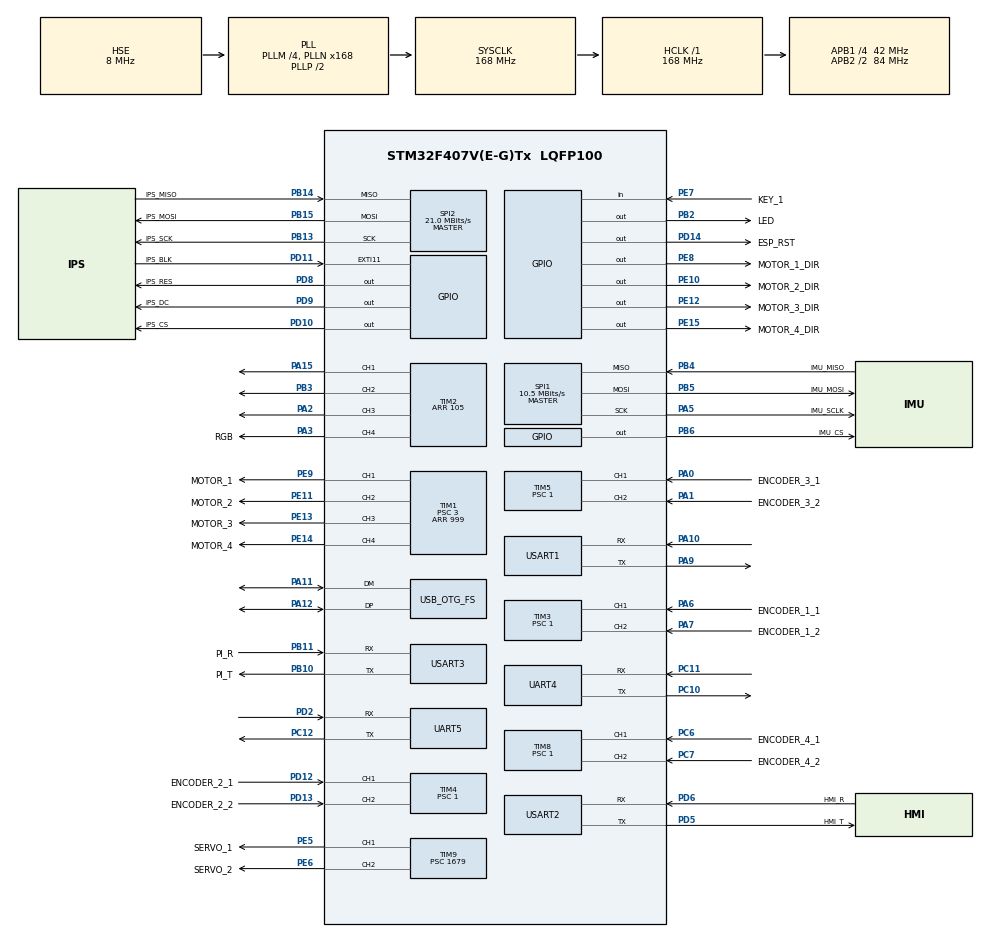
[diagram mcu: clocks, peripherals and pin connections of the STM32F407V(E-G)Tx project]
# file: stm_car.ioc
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Dma.Request0=TIM2_CH2/CH4
Dma.TIM2_CH2/CH4.0.Direction=DMA_MEMORY_TO_PERIPH
Dma.TIM2_CH2/CH4.0.FIFOMode=DMA_FIFOMODE_DISABLE
Dma.TIM2_CH2/CH4.0.Instance=DMA1_Stream6
Dma.TIM2_CH2/CH4.0.MemDataAlignment=DMA_MDATAALIGN_WORD
Dma.TIM2_CH2/CH4.0.MemInc=DMA_MINC_ENABLE
Dma.TIM2_CH2/CH4.0.Mode=DMA_CIRCULAR
Dma.TIM2_CH2/CH4.0.PeriphDataAlignment=DMA_PDATAALIGN_WORD
Dma.TIM2_CH2/CH4.0.PeriphInc=DMA_PINC_DISABLE
Dma.TIM2_CH2/CH4.0.Priority=DMA_PRIORITY_LOW
FREERTOS.Tasks01=defaultTask,0,128,StartDefaultTask,Default,NULL,Dynamic,NULL,NULL;Task_Motor,-3,128,Motor_Entry,Default,NULL,Dynamic,NULL,NULL;Task_check,-3,128,Check_Entry,Default,NULL,Dynamic,NULL,NULL;Task_InertialNa,-3,128,InertialNavigation_Entry,Default,NULL,Dynamic,NULL,NULL
FREERTOS.Timers01=myTimer01,Callback01,osTimerPeriodic,Default,NULL,Dynamic,NULL
FREERTOS.configUSE_TIMERS=1
Mcu.Family=STM32F4
Mcu.Name=STM32F407V(E-G)Tx
Mcu.Package=LQFP100
NVIC.DMA1_Stream6_IRQn=true\:5\:0\:false\:false\:true\:true\:false\:true\:true
NVIC.OTG_FS_IRQn=true\:5\:0\:false\:false\:true\:true\:false\:true\:true
NVIC.PriorityGroup=NVIC_PRIORITYGROUP_4
NVIC.TIM7_IRQn=true\:15\:0\:false\:false\:true\:false\:false\:true\:true
NVIC.TimeBase=TIM7_IRQn
NVIC.TimeBaseIP=TIM7
NVIC.UART4_IRQn=true\:5\:0\:false\:false\:true\:true\:true\:true\:true
NVIC.USART1_IRQn=true\:5\:0\:false\:false\:true\:true\:true\:true\:true
NVIC.USART2_IRQn=true\:5\:0\:false\:false\:true\:true\:true\:true\:true
NVIC.USART3_IRQn=true\:5\:0\:false\:false\:true\:true\:true\:true\:true
PA0-WKUP.GPIO_Label=ENCODER_3_1
PA0-WKUP.Signal=S_TIM5_CH1
PA1.GPIO_Label=ENCODER_3_2
PA1.Signal=S_TIM5_CH2
PA10.Mode=Asynchronous
PA10.Signal=USART1_RX
PA11.Mode=Device_Only
PA11.Signal=USB_OTG_FS_DM
PA12.Mode=Device_Only
PA12.Signal=USB_OTG_FS_DP
PA13.Mode=Serial_Wire
PA13.Signal=SYS_JTMS-SWDIO
PA14.Mode=Serial_Wire
PA14.Signal=SYS_JTCK-SWCLK
PA15.Signal=S_TIM2_CH1_ETR
PA2.Signal=S_TIM2_CH3
PA3.GPIO_Label=RGB
PA3.Signal=S_TIM2_CH4
PA5.GPIO_Label=IMU_SCLK
PA5.Mode=Full_Duplex_Master
PA5.Signal=SPI1_SCK
PA6.GPIO_Label=ENCODER_1_1
PA6.Signal=S_TIM3_CH1
PA7.GPIO_Label=ENCODER_1_2
PA7.Signal=S_TIM3_CH2
PA9.Mode=Asynchronous
PA9.Signal=USART1_TX
PB10.GPIO_Label=PI_T
PB10.Mode=Asynchronous
PB10.Signal=USART3_TX
PB11.GPIO_Label=PI_R
PB11.Mode=Asynchronous
PB11.Signal=USART3_RX
PB13.GPIO_Label=IPS_SCK
PB13.Mode=Full_Duplex_Master
PB13.Signal=SPI2_SCK
PB14.GPIO_Label=IPS_MISO
PB14.Mode=Full_Duplex_Master
PB14.Signal=SPI2_MISO
PB15.GPIO_Label=IPS_MOSI
PB15.Mode=Full_Duplex_Master
PB15.Signal=SPI2_MOSI
PB2.GPIO_Label=LED
PB2.Signal=GPIO_Output
PB3.Signal=S_TIM2_CH2
PB4.GPIO_Label=IMU_MISO
PB4.Mode=Full_Duplex_Master
PB4.Signal=SPI1_MISO
PB5.GPIO_Label=IMU_MOSI
PB5.Mode=Full_Duplex_Master
PB5.Signal=SPI1_MOSI
PB6.GPIO_Label=IMU_CS
PB6.Signal=GPIO_Output
PC10.Mode=Asynchronous
PC10.Signal=UART4_TX
PC11.Mode=Asynchronous
PC11.Signal=UART4_RX
PC12.Mode=Asynchronous
PC12.Signal=UART5_TX
PC14-OSC32_IN.Mode=LSE-External-Oscillator
PC14-OSC32_IN.Signal=RCC_OSC32_IN
PC15-OSC32_OUT.Mode=LSE-External-Oscillator
PC15-OSC32_OUT.Signal=RCC_OSC32_OUT
PC6.GPIO_Label=ENCODER_4_1
PC6.Signal=S_TIM8_CH1
PC7.GPIO_Label=ENCODER_4_2
PC7.Signal=S_TIM8_CH2
PD10.GPIO_Label=IPS_CS
PD10.Signal=GPIO_Output
PD11.GPIO_Label=IPS_BLK
PD11.Signal=GPXTI11
PD12.GPIO_Label=ENCODER_2_1
PD12.Signal=S_TIM4_CH1
PD13.GPIO_Label=ENCODER_2_2
PD13.Signal=S_TIM4_CH2
PD14.GPIO_Label=ESP_RST
PD14.Signal=GPIO_Output
PD2.Mode=Asynchronous
PD2.Signal=UART5_RX
PD5.GPIO_Label=HMI_T
PD5.Mode=Asynchronous
PD5.Signal=USART2_TX
PD6.GPIO_Label=HMI_R
PD6.Mode=Asynchronous
PD6.Signal=USART2_RX
PD8.GPIO_Label=IPS_RES
PD8.Signal=GPIO_Output
PD9.GPIO_Label=IPS_DC
PD9.Signal=GPIO_Output
PE10.GPIO_Label=MOTOR_2_DIR
PE10.Signal=GPIO_Output
PE11.GPIO_Label=MOTOR_2
PE11.Signal=S_TIM1_CH2
PE12.GPIO_Label=MOTOR_3_DIR
PE12.Signal=GPIO_Output
PE13.GPIO_Label=MOTOR_3
PE13.Signal=S_TIM1_CH3
PE14.GPIO_Label=MOTOR_4
PE14.Signal=S_TIM1_CH4
PE15.GPIO_Label=MOTOR_4_DIR
PE15.Signal=GPIO_Output
PE5.GPIO_Label=SERVO_1
PE5.Signal=S_TIM9_CH1
PE6.GPIO_Label=SERVO_2
PE6.Signal=S_TIM9_CH2
PE7.GPIO_Label=KEY_1
PE7.Signal=GPIO_Input
PE8.GPIO_Label=MOTOR_1_DIR
PE8.Signal=GPIO_Output
PE9.GPIO_Label=MOTOR_1
PE9.Signal=S_TIM1_CH1
PH0-OSC_IN.Mode=HSE-External-Oscillator
PH0-OSC_IN.Signal=RCC_OSC_IN
PH1-OSC_OUT.Mode=HSE-External-Oscillator
PH1-OSC_OUT.Signal=RCC_OSC_OUT
ProjectManager.HeapSize=0x200
ProjectManager.StackSize=0x400
ProjectManager.TargetToolchain=MDK-ARM V5.32
RCC.48MHZClocksFreq_Value=48000000
RCC.AHBFreq_Value=168000000
RCC.APB1CLKDivider=RCC_HCLK_DIV4
RCC.APB1Freq_Value=42000000
RCC.APB1TimFreq_Value=84000000
RCC.APB2CLKDivider=RCC_HCLK_DIV2
RCC.APB2Freq_Value=84000000
RCC.APB2TimFreq_Value=168000000
RCC.CortexFreq_Value=168000000
RCC.HCLKFreq_Value=168000000
RCC.HSE_VALUE=8000000
RCC.HSI_VALUE=16000000
RCC.PLLM=4
RCC.PLLN=168
RCC.PLLQ=7
RCC.SYSCLKFreq_VALUE=168000000
RCC.SYSCLKSource=RCC_SYSCLKSOURCE_PLLCLK
RCC.VCOOutputFreq_Value=336000000
SH.S_TIM1_CH1.0=TIM1_CH1,PWM Generation1 CH1
SH.S_TIM1_CH2.0=TIM1_CH2,PWM Generation2 CH2
SH.S_TIM1_CH3.0=TIM1_CH3,PWM Generation3 CH3
SH.S_TIM1_CH4.0=TIM1_CH4,PWM Generation4 CH4
SH.S_TIM2_CH1_ETR.0=TIM2_CH1,PWM Generation1 CH1
SH.S_TIM2_CH2.0=TIM2_CH2,PWM Generation2 CH2
SH.S_TIM2_CH3.0=TIM2_CH3,PWM Generation3 CH3
SH.S_TIM2_CH4.0=TIM2_CH4,PWM Generation4 CH4
SH.S_TIM3_CH1.0=TIM3_CH1,Encoder_Interface
SH.S_TIM3_CH2.0=TIM3_CH2,Encoder_Interface
SH.S_TIM4_CH1.0=TIM4_CH1,Encoder_Interface
SH.S_TIM4_CH2.0=TIM4_CH2,Encoder_Interface
SH.S_TIM5_CH1.0=TIM5_CH1,Encoder_Interface
SH.S_TIM5_CH2.0=TIM5_CH2,Encoder_Interface
SH.S_TIM8_CH1.0=TIM8_CH1,Encoder_Interface
SH.S_TIM8_CH2.0=TIM8_CH2,Encoder_Interface
SH.S_TIM9_CH1.0=TIM9_CH1,PWM Generation1 CH1
SH.S_TIM9_CH2.0=TIM9_CH2,PWM Generation2 CH2
SPI1.BaudRatePrescaler=SPI_BAUDRATEPRESCALER_8
SPI1.CLKPolarity=SPI_POLARITY_LOW
SPI1.CalculateBaudRate=10.5 MBits/s
SPI1.Direction=SPI_DIRECTION_2LINES
SPI1.Mode=SPI_MODE_MASTER
SPI1.VirtualType=VM_MASTER
SPI2.BaudRatePrescaler=SPI_BAUDRATEPRESCALER_2
SPI2.CLKPhase=SPI_PHASE_1EDGE
SPI2.CLKPolarity=SPI_POLARITY_LOW
SPI2.CalculateBaudRate=21.0 MBits/s
SPI2.Direction=SPI_DIRECTION_2LINES
SPI2.Mode=SPI_MODE_MASTER
SPI2.VirtualType=VM_MASTER
TIM1.Channel-PWM\ Generation1\ CH1=TIM_CHANNEL_1
TIM1.Channel-PWM\ Generation2\ CH2=TIM_CHANNEL_2
TIM1.Channel-PWM\ Generation3\ CH3=TIM_CHANNEL_3
TIM1.Channel-PWM\ Generation4\ CH4=TIM_CHANNEL_4
TIM1.Period=999
TIM1.Prescaler=3
TIM2.Channel-PWM\ Generation1\ CH1=TIM_CHANNEL_1
TIM2.Channel-PWM\ Generation2\ CH2=TIM_CHANNEL_2
TIM2.Channel-PWM\ Generation3\ CH3=TIM_CHANNEL_3
TIM2.Channel-PWM\ Generation4\ CH4=TIM_CHANNEL_4
TIM2.Period=105
TIM3.Prescaler=1
TIM4.Prescaler=1
TIM5.Period=65535
TIM5.Prescaler=1
TIM8.Prescaler=1
TIM9.Channel-PWM\ Generation1\ CH1=TIM_CHANNEL_1
TIM9.Channel-PWM\ Generation2\ CH2=TIM_CHANNEL_2
TIM9.Period=999
TIM9.Prescaler=1679
UART4.VirtualMode=Asynchronous
UART5.VirtualMode=Asynchronous
USART1.VirtualMode=VM_ASYNC
USART2.VirtualMode=VM_ASYNC
USART3.VirtualMode=VM_ASYNC
USB_DEVICE.CLASS_NAME_FS=CDC
USB_DEVICE.VirtualMode-CDC_FS=Cdc
USB_DEVICE.VirtualModeFS=Cdc_FS
USB_OTG_FS.VirtualMode=Device_Only
VP_FREERTOS_VS_CMSIS_V1.Mode=CMSIS_V1
VP_SYS_VS_tim7.Mode=TIM7
VP_TIM1_VS_ClockSourceINT.Mode=Internal
VP_TIM2_VS_ClockSourceINT.Mode=Internal
VP_TIM9_VS_ClockSourceINT.Mode=Internal
VP_USB_DEVICE_VS_USB_DEVICE_CDC_FS.Mode=CDC_FS
board=custom

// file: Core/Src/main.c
/* USER CODE BEGIN Header */
/**
  ******************************************************************************
  * @file           : main.c
  * @brief          : Main program body
  ******************************************************************************
  * @attention
  *
  * Copyright (c) 2024 STMicroelectronics.
  * All rights reserved.
  *
  * This software is licensed under terms that can be found in the LICENSE file
  * in the root directory of this software component.
  * If no LICENSE file comes with this software, it is provided AS-IS.
  *
  ******************************************************************************
  */
/* USER CODE END Header */
#include "main.h"
#include "cmsis_os.h"
#include "dma.h"
#include "spi.h"
#include "tim.h"
#include "usart.h"
#include "usb_device.h"
#include "gpio.h"

void SystemClock_Config(void);
void MX_FREERTOS_Init(void);

/* USER CODE BEGIN 0 */
uint8_t imu660ra_self_check(void);

/* USER CODE END 0 */

int main(void)
{

  /* MCU Configuration--------------------------------------------------------*/

  /* Reset of all peripherals, Initializes the Flash interface and the Systick. */
  HAL_Init();

  /* Configure the system clock */
  SystemClock_Config();

  /* Initialize all configured peripherals */
  MX_GPIO_Init();
  MX_DMA_Init();
  MX_TIM1_Init();
  MX_TIM3_Init();
  MX_TIM4_Init();
  MX_TIM5_Init();
  MX_USART1_UART_Init();
  MX_TIM8_Init();
  MX_SPI1_Init();
  MX_SPI2_Init();
  MX_TIM2_Init();
  MX_TIM9_Init();
  MX_UART4_Init();
  MX_UART5_Init();
  MX_USART2_UART_Init();
  MX_USART3_UART_Init();
  /* USER CODE BEGIN 2 */
	printf("run");

//	HAL_TIM_Encoder_Start(&htim5,TIM_CHANNEL_1);
//	HAL_TIM_Encoder_Start(&htim5,TIM_CHANNEL_2);

//	HAL_TIM_Encoder_Start(&htim8,TIM_CHANNEL_1);
//	HAL_TIM_Encoder_Start(&htim8,TIM_CHANNEL_2);

  /* USER CODE END 2 */

  /* Call init function for freertos objects (in freertos.c) */
  MX_FREERTOS_Init();

  /* Start scheduler */
  osKernelStart();

  /* We should never get here as control is now taken by the scheduler */
  /* Infinite loop */
  while (1)
  {

  }
}

void SystemClock_Config(void)
{
  RCC_OscInitTypeDef RCC_OscInitStruct = {0};
  RCC_ClkInitTypeDef RCC_ClkInitStruct = {0};

  /** Configure the main internal regulator output voltage
  */
  __HAL_RCC_PWR_CLK_ENABLE();
  __HAL_PWR_VOLTAGESCALING_CONFIG(PWR_REGULATOR_VOLTAGE_SCALE1);

  /** Initializes the RCC Oscillators according to the specified parameters
  * in the RCC_OscInitTypeDef structure.
  */
  RCC_OscInitStruct.OscillatorType = RCC_OSCILLATORTYPE_HSE;
  RCC_OscInitStruct.HSEState = RCC_HSE_ON;
  RCC_OscInitStruct.PLL.PLLState = RCC_PLL_ON;
  RCC_OscInitStruct.PLL.PLLSource = RCC_PLLSOURCE_HSE;
  RCC_OscInitStruct.PLL.PLLM = 4;
  RCC_OscInitStruct.PLL.PLLN = 168;
  RCC_OscInitStruct.PLL.PLLP = RCC_PLLP_DIV2;
  RCC_OscInitStruct.PLL.PLLQ = 7;
  if (HAL_RCC_OscConfig(&RCC_OscInitStruct) != HAL_OK)
  {
    Error_Handler();
  }

  /** Initializes the CPU, AHB and APB buses clocks
  */
  RCC_ClkInitStruct.ClockType = RCC_CLOCKTYPE_HCLK|RCC_CLOCKTYPE_SYSCLK
                              |RCC_CLOCKTYPE_PCLK1|RCC_CLOCKTYPE_PCLK2;
  RCC_ClkInitStruct.SYSCLKSource = RCC_SYSCLKSOURCE_PLLCLK;
  RCC_ClkInitStruct.AHBCLKDivider = RCC_SYSCLK_DIV1;
  RCC_ClkInitStruct.APB1CLKDivider = RCC_HCLK_DIV4;
  RCC_ClkInitStruct.APB2CLKDivider = RCC_HCLK_DIV2;

  if (HAL_RCC_ClockConfig(&RCC_ClkInitStruct, FLASH_LATENCY_5) != HAL_OK)
  {
    Error_Handler();
  }
}

/* USER CODE BEGIN 4 */
void HAL_UART_RxCpltCallback(UART_HandleTypeDef *huart)
{
  if (huart->Instance == hmi.USART_BASE)
  {
		hmi.hmi_data_analysis(&hmi, &hmi.res);

//		HAL_UART_Transmit(&huart1, (uint8_t *)&hmi.res, 1, 0xffff);			//放在这里会拖到串口读取

		HAL_UART_Receive_IT(hmi.huart, &hmi.res, 1);
  }

	if (huart->Instance == XBOX.USART_BASE)
  {
		XBOX.XBOX_data_analysis(&XBOX, &XBOX.res);

//		HAL_UART_Transmit(&huart1, (uint8_t *)&XBOX.res, 1, 0xffff);			//放在这里会拖到串口读取

		HAL_UART_Receive_IT(XBOX.huart, &XBOX.res, 1);
  }

}
/* USER CODE END 4 */

void HAL_TIM_PeriodElapsedCallback(TIM_HandleTypeDef *htim)
{
  if (htim->Instance == TIM7) {
    HAL_IncTick();
  }
}

void Error_Handler(void)
{
  __disable_irq();
  while (1)
  {
  }
}

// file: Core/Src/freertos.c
/* USER CODE BEGIN Header */
/**
  ******************************************************************************
  * File Name          : freertos.c
  * Description        : Code for freertos applications
  ******************************************************************************
  * @attention
  *
  * Copyright (c) 2024 STMicroelectronics.
  * All rights reserved.
  *
  * This software is licensed under terms that can be found in the LICENSE file
  * in the root directory of this software component.
  * If no LICENSE file comes with this software, it is provided AS-IS.
  *
  ******************************************************************************
  */
/* USER CODE END Header */

#include "FreeRTOS.h"
#include "task.h"
#include "main.h"
#include "cmsis_os.h"

/* USER CODE BEGIN Includes */
#include "USB_CDC.h"
#include "math.h"
/* USER CODE END Includes */

/* USER CODE BEGIN Variables */

EventGroupHandle_t myEventGroupHandle_check;//事件组句柄

/* USER CODE END Variables */
osThreadId defaultTaskHandle;
osThreadId Task_MotorHandle;
osThreadId Task_checkHandle;
osThreadId Task_InertialNaHandle;
osTimerId myTimer01Handle;

void StartDefaultTask(void const * argument);
void Motor_Entry(void const * argument);
void Check_Entry(void const * argument);
void InertialNavigation_Entry(void const * argument);
void Callback01(void const * argument);

extern void MX_USB_DEVICE_Init(void);
void MX_FREERTOS_Init(void); /* (MISRA C 2004 rule 8.1) */

/* GetIdleTaskMemory prototype (linked to static allocation support) */
void vApplicationGetIdleTaskMemory( StaticTask_t **ppxIdleTaskTCBBuffer, StackType_t **ppxIdleTaskStackBuffer, uint32_t *pulIdleTaskStackSize );

/* GetTimerTaskMemory prototype (linked to static allocation support) */
void vApplicationGetTimerTaskMemory( StaticTask_t **ppxTimerTaskTCBBuffer, StackType_t **ppxTimerTaskStackBuffer, uint32_t *pulTimerTaskStackSize );

/* USER CODE BEGIN GET_IDLE_TASK_MEMORY */
static StaticTask_t xIdleTaskTCBBuffer;
static StackType_t xIdleStack[configMINIMAL_STACK_SIZE];

void vApplicationGetIdleTaskMemory( StaticTask_t **ppxIdleTaskTCBBuffer, StackType_t **ppxIdleTaskStackBuffer, uint32_t *pulIdleTaskStackSize )
{
  *ppxIdleTaskTCBBuffer = &xIdleTaskTCBBuffer;
  *ppxIdleTaskStackBuffer = &xIdleStack[0];
  *pulIdleTaskStackSize = configMINIMAL_STACK_SIZE;
  /* place for user code */
}
/* USER CODE END GET_IDLE_TASK_MEMORY */

/* USER CODE BEGIN GET_TIMER_TASK_MEMORY */
static StaticTask_t xTimerTaskTCBBuffer;
static StackType_t xTimerStack[configTIMER_TASK_STACK_DEPTH];

void vApplicationGetTimerTaskMemory( StaticTask_t **ppxTimerTaskTCBBuffer, StackType_t **ppxTimerTaskStackBuffer, uint32_t *pulTimerTaskStackSize )
{
  *ppxTimerTaskTCBBuffer = &xTimerTaskTCBBuffer;
  *ppxTimerTaskStackBuffer = &xTimerStack[0];
  *pulTimerTaskStackSize = configTIMER_TASK_STACK_DEPTH;
  /* place for user code */
}
/* USER CODE END GET_TIMER_TASK_MEMORY */

void MX_FREERTOS_Init(void) {

  /* Create the timer(s) */
  /* definition and creation of myTimer01 */
  osTimerDef(myTimer01, Callback01);
  myTimer01Handle = osTimerCreate(osTimer(myTimer01), osTimerPeriodic, NULL);

  /* Create the thread(s) */
  /* definition and creation of defaultTask */
  osThreadDef(defaultTask, StartDefaultTask, osPriorityNormal, 0, 128);
  defaultTaskHandle = osThreadCreate(osThread(defaultTask), NULL);

  /* definition and creation of Task_Motor */
  osThreadDef(Task_Motor, Motor_Entry, osPriorityIdle, 0, 128);
  Task_MotorHandle = osThreadCreate(osThread(Task_Motor), NULL);

  /* definition and creation of Task_check */
  osThreadDef(Task_check, Check_Entry, osPriorityIdle, 0, 128);
  Task_checkHandle = osThreadCreate(osThread(Task_check), NULL);

  /* definition and creation of Task_InertialNa */
  osThreadDef(Task_InertialNa, InertialNavigation_Entry, osPriorityIdle, 0, 128);
  Task_InertialNaHandle = osThreadCreate(osThread(Task_InertialNa), NULL);

  /* USER CODE BEGIN RTOS_THREADS */
  /* add threads, ... */
	osTimerStart(myTimer01Handle,1);
	myEventGroupHandle_check=xEventGroupCreate();//创建事件组
  /* USER CODE END RTOS_THREADS */

}

void StartDefaultTask(void const * argument)
{
  /* init code for USB_DEVICE */
  MX_USB_DEVICE_Init();
  /* USER CODE BEGIN StartDefaultTask */

		LED_struct_init(&led_g,LED_GPIO_Port,LED_Pin);

		encoder_struct_init(&encoder_1,ENCODER_HTIM_1,ENCODER_BASE_1);

		encoder_struct_init(&encoder_2,ENCODER_HTIM_2,ENCODER_BASE_2);

		encoder_struct_init(&encoder_3,ENCODER_HTIM_3,ENCODER_BASE_3);

		encoder_struct_init(&encoder_4,ENCODER_HTIM_4,ENCODER_BASE_4);

		XBOX_struct_init(&XBOX,XBOX_USART,XBOX_USART_BASE);

		HMI_struct_init(&hmi, HMI1_USART, HMI1_USART_BASE);

		MOTOR_struct_init(&motor1,MOTOR_1_DIR_GPIO_Port,MOTOR_1_DIR_Pin,M1_TIM,M1_CHANNEL);
	//右上

		MOTOR_struct_init(&motor2,MOTOR_2_DIR_GPIO_Port,MOTOR_2_DIR_Pin,M2_TIM,M2_CHANNEL);
	//左上

		MOTOR_struct_init(&motor3,MOTOR_3_DIR_GPIO_Port,MOTOR_3_DIR_Pin,M3_TIM,M3_CHANNEL);
		//左下

		MOTOR_struct_init(&motor4,MOTOR_4_DIR_GPIO_Port,MOTOR_4_DIR_Pin,M4_TIM,M4_CHANNEL);
		//右下

		PID_struct_init(&pid_all.pid_speed[1],DELTA_PID,500,100,1,0,0,1500,0);

		PID_struct_init(&pid_all.pid_speed[2],DELTA_PID,500,100,1,0,0,1500,0);

		PID_struct_init(&pid_all.pid_speed[3],DELTA_PID,500,100,1,0,0,1500,0);

		PID_struct_init(&pid_all.pid_speed[4],DELTA_PID,500,100,1,0,0,1500,0);

		PID_struct_init(&pid_all.pid_angle,POSITION_PID,100,50,1,0,0,1500,2);

		pid_all.pid_angle.f_pid_reset(&pid_all.pid_angle, 0.388f, 0.000f, 1.888f);
//		pid_all.pid_angle.f_pid_reset(&pid_all.pid_angle, 0.888f, 0.000f, 0.888f);

		if(IMU660RA_SWITCH)
		{
			printf("init_imu\r\n");

			imu_struct_init(&imu660ra,IMU_SPI,IMU_CS_GPIO_Port,IMU_CS_Pin);

			imu660ra.imu660ra_init(&imu660ra);
		}

  /* Infinite loop */
  for(;;)
  {

    osDelay(100);
  }
  /* USER CODE END StartDefaultTask */
}

/* USER CODE BEGIN Header_Motor_Entry */
void usb_xbox_todata(float* data_enc,float* data_imu,float* data_imu_tag, XBOX_DATA* XBOX_data, float p1, float p2, float p3);
/**
* @brief Function implementing the Task_Motor thread.
* @param argument: Not used
* @retval None
*/
/* USER CODE END Header_Motor_Entry */
void Motor_Entry(void const * argument)
{
  /* USER CODE BEGIN Motor_Entry */

	static float times = 0;

	if(!MOTOR_SWITCH)
	{
		vTaskSuspend(NULL);
	}
		printf("motor_init_ok\r\n");
  /* Infinite loop */
  for(;;)
  {

		times ++;
		if(times > 1000)
		{
		}
		if(times < 1000)
		{
		}
		if(times > 2000)
		{
			times = 0;
		}

		USB_analysis();

		if(usb.get_data == 1)
		{

			usb_xbox_todata(&encoder_1.g_encoder_target, &CAR_YAW, &CAR_YAW_TARGET, &usb.XBOX_data,  -0.4f, -0.11f, 1);

			usb_xbox_todata(&encoder_2.g_encoder_target, &CAR_YAW, &CAR_YAW_TARGET, &usb.XBOX_data,  -0.4f, 0.11f, -1);

			usb_xbox_todata(&encoder_3.g_encoder_target, &CAR_YAW, &CAR_YAW_TARGET, &usb.XBOX_data,  -0.4f, 0.11f, -1);

			usb_xbox_todata(&encoder_4.g_encoder_target, &CAR_YAW, &CAR_YAW_TARGET, &usb.XBOX_data,  -0.4f, -0.11f, 1);

			usb_xbox_todata_run( &usb.XBOX_data, 0.88f);

		}
		else if(0)			//测试角度环
		{
				encoder_1.g_encoder_target = 0;
				encoder_2.g_encoder_target = 0;
				encoder_3.g_encoder_target = 0;
				encoder_4.g_encoder_target = 0;

				static float temp = 0, temp_L = 0;
				temp = pid_all.pid_angle.f_cal_pid(&pid_all.pid_angle, CAR_YAW, CAR_YAW_TARGET);
				temp = RCFilter(temp, temp_L, 0.4);
				temp_L = temp;
				encoder_1.g_encoder_target += temp;
				encoder_2.g_encoder_target -= temp;
				encoder_3.g_encoder_target -= temp;
				encoder_4.g_encoder_target += temp;

		}
		else
		{
				encoder_1.g_encoder_target = 0;
				encoder_2.g_encoder_target = 0;
				encoder_3.g_encoder_target = 0;
				encoder_4.g_encoder_target = 0;

				CAR_YAW_TARGET = CAR_YAW;

		}

    osDelay(1);
  }
  /* USER CODE END Motor_Entry */
}

void Check_Entry(void const * argument)
{
  /* USER CODE BEGIN Check_Entry */
	if(!CHECK_SWITCH)
	{
		vTaskSuspend(NULL);
	}
	osDelay(2000);

  /* Infinite loop */
  for(;;)
  {
		osThreadSuspend(NULL);

		if(check_obj == check_motor)
		{
				osThreadSuspendAll();
				all_motor_check();
				osThreadResumeAll();
		}
		else if(check_obj == check_imu)
		{
			imu660ra.imu660ra_to_hmi(&imu660ra);
		}
		else if(check_obj == check_enc)
		{
				osThreadSuspend(Task_MotorHandle);
				encoder_to_hmi();
		}
		else if(check_obj == check_xbox)
		{
			osThreadSuspend(Task_MotorHandle);
			USB_analysis();
			xbox_to_hmi();
		}

    osDelay(2);
  }
  /* USER CODE END Check_Entry */
}

void InertialNavigation_Entry(void const * argument)
{
  /* USER CODE BEGIN InertialNavigation_Entry */

	float temp_imu = 0, temp_imu_L = 0;
  /* Infinite loop */
  for(;;)
  {
		if(Inertial_SWITCH)
		{
			inertial_car.encoder_all = encoder_1.g_encoder_date_all_IN + encoder_2.g_encoder_date_all_IN + encoder_3.g_encoder_date_all_IN + encoder_4.g_encoder_date_all_IN ;

			if(inertial_car.save_run == Inertial_Save_start)
			{
				clear_pwm();
				if(abs(inertial_car.encoder_all) > inertial_car.save_time)
				{
					if(inertial_car.encoder_all > 0 && inertial_car.return_go == 1)
						inertial_car.negitive[inertial_car.in_index] = 0;
					else
						inertial_car.negitive[inertial_car.in_index] = 1;

					inertial_car.encoder_all = 0;
					encoder_1.g_encoder_date_all_IN = encoder_2.g_encoder_date_all_IN = encoder_3.g_encoder_date_all_IN = encoder_4.g_encoder_date_all_IN = 0;

					inertial_car.save_in[inertial_car.in_index] = CAR_YAW;
					if(inertial_car.in_index < Save_Num - 10)
					{
						inertial_car.in_index++;

					}

				}

			}
			if(inertial_car.save_run == Inertial_Run_ready)
			{
				inertial_car.in_index_all = inertial_car.in_index;
				inertial_car.in_index = 0;
				inertial_car.save_run = Inertial_Run;
				inertial_car.encoder_all = 0;
				encoder_1.g_encoder_date_all_IN = encoder_2.g_encoder_date_all_IN = encoder_3.g_encoder_date_all_IN = encoder_4.g_encoder_date_all_IN = 0;

			}

			if(inertial_car.save_run == Inertial_Run && inertial_car.in_index_all > 1)
			{
				if(inertial_car.negitive[inertial_car.in_index] == 1 && inertial_car.return_go == 1)
				{
					set_speed(-7);
				}
				else
				{
					set_speed(7);
				}
				if(abs(inertial_car.encoder_all) > inertial_car.save_time)
				{

					if(inertial_car.in_index_all > inertial_car.in_index)
					{

							//-----------------速度环-----------------------

							//---------------角度环----------------------
						CAR_YAW_TARGET = inertial_car.save_in[inertial_car.in_index];

						if(inertial_car.in_index < Save_Num - 10)
							inertial_car.in_index++;

					}
					else
					{
						inertial_car.save_run = Inertial_Run_Stop;
						set_speed(0);
						CAR_YAW_TARGET = inertial_car.save_in[inertial_car.in_index-1];
					}
					inertial_car.encoder_all = 0;
					encoder_1.g_encoder_date_all_IN = encoder_2.g_encoder_date_all_IN = encoder_3.g_encoder_date_all_IN = encoder_4.g_encoder_date_all_IN = 0;
				}

					temp_imu = pid_all.pid_angle.f_cal_pid(&pid_all.pid_angle, CAR_YAW, CAR_YAW_TARGET);
					if(temp_imu != 0)
					{
						temp_imu = RCFilter(temp_imu, temp_imu_L, 0.4);

					}
					temp_imu_L = temp_imu;

					encoder_1.g_encoder_target +=  1 * temp_imu;
					encoder_2.g_encoder_target += -1 * temp_imu;
					encoder_3.g_encoder_target += -1 * temp_imu;
					encoder_4.g_encoder_target +=  1 * temp_imu;

			}
			else if(inertial_car.save_run == Inertial_Run_Stop)
			{
						set_speed(0);
												//---------------角度环----------------------

						temp_imu = pid_all.pid_angle.f_cal_pid(&pid_all.pid_angle, CAR_YAW, CAR_YAW_TARGET);
						temp_imu = RCFilter(temp_imu, temp_imu_L, 0.4);
						temp_imu_L = temp_imu;
						encoder_1.g_encoder_target +=  1 * temp_imu;
						encoder_2.g_encoder_target += -1 * temp_imu;
						encoder_3.g_encoder_target += -1 * temp_imu;
						encoder_4.g_encoder_target +=  1 * temp_imu;

			}

		}

    osDelay(1);
  }
  /* USER CODE END InertialNavigation_Entry */
}

/* Callback01 function */
void Callback01(void const * argument)
{
  /* USER CODE BEGIN Callback01 */

	static int times = 0;
	times++;
	if(times >= 1000)
	{
		led_g.Toggle(&led_g);
		times = 0;
	}

	encoder_1.encoder_get(&encoder_1, 1, 1);
	encoder_2.encoder_get(&encoder_2, 2, 1);
	encoder_3.encoder_get(&encoder_3, 3, 1);
	encoder_4.encoder_get(&encoder_4, 4, 1);

	encoder_1.g_encoder_date_L = encoder_1.g_encoder_date;
	encoder_1.g_encoder_date = RCFilter(encoder_1.g_encoder_date,encoder_1.g_encoder_date_L , 0.1f);

	encoder_2.g_encoder_date_L = encoder_2.g_encoder_date;
	encoder_2.g_encoder_date = RCFilter(encoder_2.g_encoder_date,encoder_2.g_encoder_date_L , 0.1f);

	encoder_3.g_encoder_date_L = encoder_3.g_encoder_date;
	encoder_3.g_encoder_date = RCFilter(encoder_3.g_encoder_date,encoder_3.g_encoder_date_L , 0.1f);

	encoder_4.g_encoder_date_L = encoder_4.g_encoder_date;
	encoder_4.g_encoder_date = RCFilter(encoder_4.g_encoder_date,encoder_4.g_encoder_date_L , 0.1f);

	if(imu660ra.gyroOffset_ok)
	{
		imu660ra.imu660ra_get(&imu660ra);

	}

		//-----------------速度环-----------------------

	if(inertial_car.save_run >= Inertial_Run || usb.get_data == 1)
	{
		fabs(encoder_1.g_encoder_target) < 5?pid_all.pid_speed[1].f_pid_reset(&pid_all.pid_speed[1], 38.088f, 0.28f, -3.0f):pid_all.pid_speed[1].f_pid_reset(&pid_all.pid_speed[1], 4.088f, 0.188f, 7.888f);
		fabs(encoder_2.g_encoder_target) < 5?pid_all.pid_speed[2].f_pid_reset(&pid_all.pid_speed[2], 38.088f, 0.28f, -3.0f):pid_all.pid_speed[2].f_pid_reset(&pid_all.pid_speed[2], 4.088f, 0.188f, 7.888f);
		fabs(encoder_3.g_encoder_target) < 5?pid_all.pid_speed[3].f_pid_reset(&pid_all.pid_speed[3], 38.088f, 0.28f, -3.0f):pid_all.pid_speed[3].f_pid_reset(&pid_all.pid_speed[3], 4.088f, 0.188f, 7.888f);
		fabs(encoder_4.g_encoder_target) < 5?pid_all.pid_speed[4].f_pid_reset(&pid_all.pid_speed[4], 38.088f, 0.28f, -3.0f):pid_all.pid_speed[4].f_pid_reset(&pid_all.pid_speed[4], 4.088f, 0.188f, 7.888f);

		motor1.pwm = (int)pid_all.pid_speed[1].f_cal_pid(&pid_all.pid_speed[1], encoder_1.g_encoder_date, encoder_1.g_encoder_target);
		motor2.pwm = (int)pid_all.pid_speed[2].f_cal_pid(&pid_all.pid_speed[2], encoder_2.g_encoder_date, encoder_2.g_encoder_target);
		motor3.pwm = (int)pid_all.pid_speed[3].f_cal_pid(&pid_all.pid_speed[3], encoder_3.g_encoder_date, encoder_3.g_encoder_target);
		motor4.pwm = (int)pid_all.pid_speed[4].f_cal_pid(&pid_all.pid_speed[4], encoder_4.g_encoder_date, encoder_4.g_encoder_target);

		motor1.pwm = (int)RCFilter((float)motor1.pwm, (float)motor1.pwm_L, 0.38f);
		motor1.pwm_L = motor1.pwm;

		motor2.pwm = (int)RCFilter((float)motor2.pwm, (float)motor2.pwm_L, 0.38f);
		motor2.pwm_L = motor2.pwm;

		motor3.pwm = (int)RCFilter((float)motor3.pwm, (float)motor3.pwm_L, 0.38f);
		motor3.pwm_L = motor3.pwm;

		motor4.pwm = (int)RCFilter((float)motor4.pwm, (float)motor4.pwm_L, 0.38f);
		motor4.pwm_L = motor4.pwm;

		motor1.motor_update_pwm(&motor1,1);
		motor2.motor_update_pwm(&motor2,2);
		motor3.motor_update_pwm(&motor3,3);
		motor4.motor_update_pwm(&motor4,4);
	}

  /* USER CODE END Callback01 */
}
